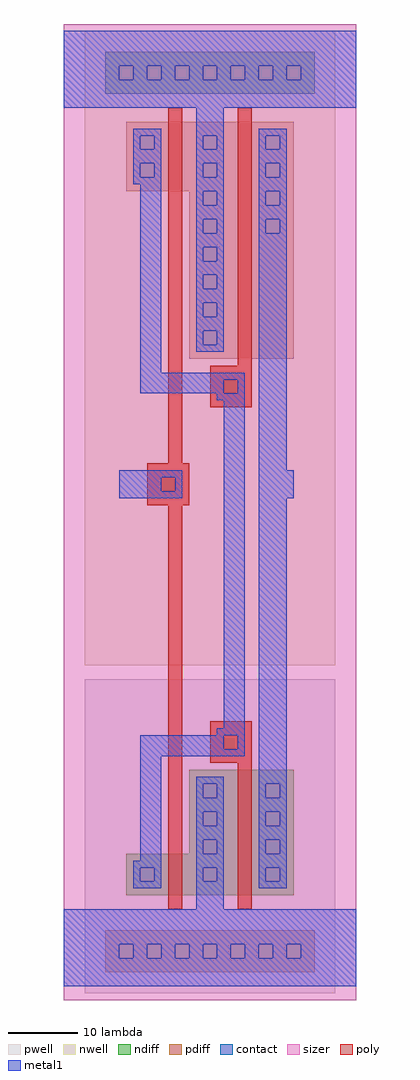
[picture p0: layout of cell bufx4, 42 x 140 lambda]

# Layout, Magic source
magic
tech concept
<< sizer >>
rect 0 0 42 140
<< metal1 >>
rect 0 134 42 139
rect 0 132 8 134
rect 10 132 12 134
rect 14 132 16 134
rect 18 132 20 134
rect 22 132 24 134
rect 26 132 28 134
rect 30 132 32 134
rect 34 132 42 134
rect 0 128 42 132
rect 19 124 23 128
rect 10 124 14 125
rect 28 124 32 125
rect 10 122 11 124
rect 13 122 14 124
rect 19 122 20 124
rect 22 122 23 124
rect 28 122 29 124
rect 31 122 32 124
rect 10 120 14 122
rect 19 120 23 122
rect 28 120 32 122
rect 10 118 11 120
rect 13 118 14 120
rect 19 118 20 120
rect 22 118 23 120
rect 28 118 29 120
rect 31 118 32 120
rect 10 117 14 118
rect 19 116 23 118
rect 28 116 32 118
rect 11 90 14 117
rect 19 114 20 116
rect 22 114 23 116
rect 28 114 29 116
rect 31 114 32 116
rect 19 112 23 114
rect 28 112 32 114
rect 19 110 20 112
rect 22 110 23 112
rect 28 110 29 112
rect 31 110 32 112
rect 19 108 23 110
rect 28 76 32 110
rect 19 106 20 108
rect 22 106 23 108
rect 19 104 23 106
rect 19 102 20 104
rect 22 102 23 104
rect 19 100 23 102
rect 19 98 20 100
rect 22 98 23 100
rect 19 96 23 98
rect 19 94 20 96
rect 22 94 23 96
rect 19 93 23 94
rect 11 89 26 90
rect 11 87 23 89
rect 25 87 26 89
rect 22 86 26 87
rect 23 39 26 86
rect 8 75 17 76
rect 28 72 33 76
rect 8 73 14 75
rect 16 73 17 75
rect 8 72 17 73
rect 28 31 32 72
rect 22 38 26 39
rect 11 36 23 38
rect 25 36 26 38
rect 11 35 26 36
rect 11 20 14 35
rect 19 31 23 32
rect 19 29 20 31
rect 22 29 23 31
rect 28 29 29 31
rect 31 29 32 31
rect 19 27 23 29
rect 28 27 32 29
rect 19 25 20 27
rect 22 25 23 27
rect 28 25 29 27
rect 31 25 32 27
rect 19 23 23 25
rect 28 23 32 25
rect 19 21 20 23
rect 22 21 23 23
rect 28 21 29 23
rect 31 21 32 23
rect 19 19 23 21
rect 28 19 32 21
rect 10 19 14 20
rect 10 17 11 19
rect 13 17 14 19
rect 19 17 20 19
rect 22 17 23 19
rect 28 17 29 19
rect 31 17 32 19
rect 10 16 14 17
rect 19 13 23 17
rect 28 16 32 17
rect 0 8 42 13
rect 0 6 8 8
rect 10 6 12 8
rect 14 6 16 8
rect 18 6 20 8
rect 22 6 24 8
rect 26 6 28 8
rect 30 6 32 8
rect 34 6 42 8
rect 0 2 42 6
<< contact >>
rect 8 132 10 134
rect 12 132 14 134
rect 16 132 18 134
rect 20 132 22 134
rect 24 132 26 134
rect 28 132 30 134
rect 32 132 34 134
rect 11 122 13 124
rect 20 122 22 124
rect 29 122 31 124
rect 11 118 13 120
rect 20 118 22 120
rect 29 118 31 120
rect 20 114 22 116
rect 29 114 31 116
rect 20 110 22 112
rect 29 110 31 112
rect 20 106 22 108
rect 20 102 22 104
rect 20 98 22 100
rect 20 94 22 96
rect 23 87 25 89
rect 14 73 16 75
rect 23 36 25 38
rect 20 29 22 31
rect 29 29 31 31
rect 20 25 22 27
rect 29 25 31 27
rect 20 21 22 23
rect 29 21 31 23
rect 11 17 13 19
rect 20 17 22 19
rect 29 17 31 19
rect 8 6 10 8
rect 12 6 14 8
rect 16 6 18 8
rect 20 6 22 8
rect 24 6 26 8
rect 28 6 30 8
rect 32 6 34 8
<< poly >>
rect 15 77 17 128
rect 25 91 27 128
rect 21 85 27 91
rect 12 71 18 77
rect 15 13 17 71
rect 21 34 27 40
rect 25 13 27 34
<< ndiff >>
rect 6 130 36 136
rect 18 21 33 33
rect 9 15 33 21
<< pdiff >>
rect 9 116 33 126
rect 18 92 33 116
rect 6 4 36 10
<< nwell >>
rect 3 48 39 139
<< pwell >>
rect 3 1 39 46
<< end >>
